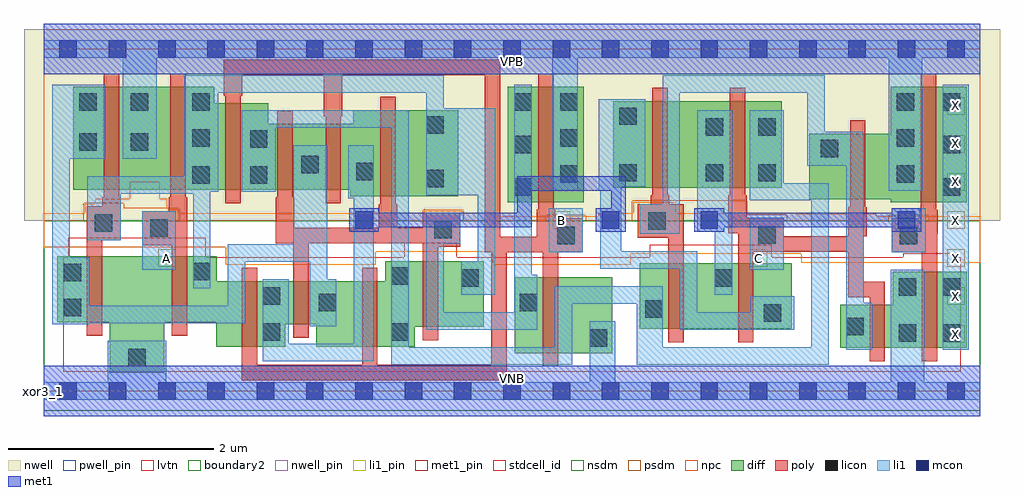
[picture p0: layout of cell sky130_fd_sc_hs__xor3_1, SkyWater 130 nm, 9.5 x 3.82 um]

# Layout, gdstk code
import gdstk
lib = gdstk.Library(unit=1e-6, precision=1e-09)
def R(c, l, rs):  # rectangles x0, y0, x1, y1
    for r in rs: c.add(gdstk.rectangle(r[:2], r[2:], *l))
def A(c, l, x, y, w, h, nx, ny, dx, dy):  # array of equal rectangles
    R(c, l, [(x+i*dx, y+j*dy, x+i*dx+w, y+j*dy+h) for i in range(nx) for j in range(ny)])
def P(c, l, *ps):  # polygons
    for p in ps: c.add(gdstk.Polygon(p, *l))
nwell_pin = (64, 16)
nwell = (64, 20)
diff = (65, 20)
poly = (66, 20)
licon = (66, 44)
li1_pin = (67, 16)
li1 = (67, 20)
mcon = (67, 44)
met1_pin = (68, 16)
met1 = (68, 20)
stdcell_id = (81, 4)
nsdm = (93, 44)
psdm = (94, 20)
npc = (95, 20)
pwell_pin = (122, 16)
lvtn = (125, 44)
boundary2 = (236, 0)

sky130_fd_sc_hs__xor3_1 = lib.new_cell('sky130_fd_sc_hs__xor3_1')
R(sky130_fd_sc_hs__xor3_1, nwell_pin, [(0,3.085,9.12,3.33)])
R(sky130_fd_sc_hs__xor3_1, nwell, [(-0.19,1.66,9.31,3.52)])
R(sky130_fd_sc_hs__xor3_1, diff, [(4.585,0.37,5.535,1.11), (5.805,0.605,7.285,1.245), (4.52,1.84,5.26,2.96), (5.545,1.98,7.185,2.82)])
P(sky130_fd_sc_hs__xor3_1, diff, [(4.035,2.735),(3.015,2.735),(3.015,2.6),(2.185,2.6),(2.185,2.8),(1.66,2.8),(1.66,2.96),(0.29,2.96),(0.29,1.96),(2.985,1.96),(2.985,1.895),(4.035,1.895)],
  [(4.285,1.265),(3.325,1.265),(3.325,1.07),(1.685,1.07),(1.685,1.31),(0.135,1.31),(0.135,0.67),(0.645,0.67),(0.645,0.18),(1.175,0.18),(1.175,0.67),(1.68,0.67),(1.68,0.43),(2.355,0.43),(2.355,0.65),(2.655,0.65),(2.655,0.43),(3.615,0.43),(3.615,0.625),(4.285,0.625)],
  [(8.985,2.96),(8.245,2.96),(8.245,2.505),(7.455,2.505),(7.455,1.865),(8.245,1.865),(8.245,1.84),(8.985,1.84)],
  [(8.985,1.16),(8.265,1.16),(8.265,0.84),(7.755,0.84),(7.755,0.42),(8.985,0.42)])
P(sky130_fd_sc_hs__xor3_1, poly, [(8.705,1.765),(8.69,1.765),(8.69,3.09),(8.54,3.09),(8.54,1.765),(8.525,1.765),(8.525,1.68),(8.255,1.68),(8.255,1.35),(8.55,1.35),(8.55,0.29),(8.7,0.29),(8.7,1.53),(8.705,1.53)],
  [(8.19,1.065),(7.985,1.065),(7.985,1.505),(8.015,1.505),(8.015,1.79),(8,1.79),(8,2.635),(7.85,2.635),(7.85,1.79),(7.835,1.79),(7.835,1.505),(7.205,1.505),(7.205,1.685),(6.845,1.685),(6.845,1.905),(6.83,1.905),(6.83,2.95),(6.68,2.95),(6.68,1.905),(6.665,1.905),(6.665,1.535),(6.76,1.535),(6.76,0.475),(6.91,0.475),(6.91,1.355),(7.835,1.355),(7.835,0.915),(8.04,0.915),(8.04,0.29),(8.19,0.29)],
  [(6.23,1.82),(6.09,1.82),(6.09,1.905),(6.075,1.905),(6.075,2.95),(5.925,2.95),(5.925,1.905),(5.91,1.905),(5.91,1.82),(5.785,1.82),(5.785,1.49),(6.08,1.49),(6.08,0.475),(6.23,0.475)],
  [(5.25,1.68),(4.98,1.68),(4.98,1.765),(4.965,1.765),(4.965,3.09),(4.815,3.09),(4.815,1.765),(4.8,1.765),(4.8,1.5),(4.445,1.5),(4.445,3.225),(1.755,3.225),(1.755,2.875),(1.77,2.875),(1.77,1.83),(1.92,1.83),(1.92,2.875),(1.935,2.875),(1.935,3.075),(2.73,3.075),(2.73,2.675),(2.745,2.675),(2.745,1.83),(2.895,1.83),(2.895,2.675),(2.91,2.675),(2.91,3.075),(4.295,3.075),(4.295,1.35),(4.36,1.35),(4.36,0.255),(3.25,0.255),(3.25,1.2),(3.1,1.2),(3.1,0.255),(2.08,0.255),(2.08,1.2),(1.93,1.2),(1.93,0.105),(4.51,0.105),(4.51,1.35),(4.86,1.35),(4.86,0.24),(5.01,0.24),(5.01,1.35),(5.25,1.35)],
  [(4.055,1.735),(3.69,1.735),(3.69,1.59),(3.445,1.59),(3.445,1.82),(3.43,1.82),(3.43,2.865),(3.28,2.865),(3.28,1.82),(3.265,1.82),(3.265,1.59),(2.44,1.59),(2.44,1.885),(2.425,1.885),(2.425,2.73),(2.275,2.73),(2.275,1.885),(2.26,1.885),(2.26,1.44),(2.43,1.44),(2.43,0.52),(2.58,0.52),(2.58,1.44),(3.69,1.44),(3.69,0.495),(3.84,0.495),(3.84,1.405),(4.055,1.405)],
  [(1.4,1.885),(1.385,1.885),(1.385,3.09),(1.235,3.09),(1.235,1.885),(1.22,1.885),(1.22,1.75),(0.96,1.75),(0.96,1.42),(1.25,1.42),(1.25,0.54),(1.4,0.54)],
  [(0.75,1.885),(0.735,1.885),(0.735,3.09),(0.585,3.09),(0.585,1.885),(0.57,1.885),(0.57,1.8),(0.42,1.8),(0.42,0.54),(0.57,0.54),(0.57,1.47),(0.75,1.47)])
A(sky130_fd_sc_hs__xor3_1, licon, 4.58, 1.9, 0.17, 0.17, 1, 3, 0, 0.415)
A(sky130_fd_sc_hs__xor3_1, licon, 8.755, 1.9, 0.17, 0.17, 1, 3, 0, 0.415)
A(sky130_fd_sc_hs__xor3_1, licon, 5.03, 2.03, 0.17, 0.17, 1, 3, 0, 0.35)
A(sky130_fd_sc_hs__xor3_1, licon, 8.305, 2.03, 0.17, 0.17, 1, 3, 0, 0.35)
R(sky130_fd_sc_hs__xor3_1, licon, [(0.825,0.24,0.995,0.41), (5.315,0.43,5.485,0.6), (8.325,0.48,8.495,0.65), (8.755,0.48,8.925,0.65), (2.135,0.49,2.305,0.66), (3.385,0.49,3.555,0.66), (7.815,0.545,7.985,0.715), (7.01,0.675,7.18,0.845), (5.855,0.715,6.025,0.885), (0.195,0.73,0.365,0.9), (2.68,0.775,2.85,0.945), (4.635,0.775,4.805,0.945), (2.135,0.84,2.305,1.01), (8.325,0.93,8.495,1.1), (8.755,0.93,8.925,1.1), (4.065,1.015,4.235,1.185), (6.535,1.015,6.705,1.185), (3.385,1.035,3.555,1.205), (0.195,1.07,0.365,1.24), (1.455,1.08,1.625,1.25), (5,1.43,5.17,1.6), (8.335,1.43,8.505,1.6), (6.955,1.435,7.125,1.605), (3.805,1.485,3.975,1.655), (1.04,1.5,1.21,1.67), (0.5,1.55,0.67,1.72), (5.885,1.57,6.055,1.74), (3.725,1.985,3.895,2.155), (1.45,2.02,1.62,2.19), (2.01,2.02,2.18,2.19), (5.605,2.04,5.775,2.21), (6.445,2.04,6.615,2.21), (6.955,2.04,7.125,2.21), (3.045,2.05,3.215,2.22), (2.51,2.12,2.68,2.29), (7.565,2.275,7.735,2.445), (0.35,2.34,0.52,2.51), (0.85,2.34,1.02,2.51), (2.01,2.37,2.18,2.54), (1.45,2.38,1.62,2.55), (6.445,2.485,6.615,2.655), (6.955,2.485,7.125,2.655), (3.725,2.505,3.895,2.675), (5.605,2.59,5.775,2.76), (0.35,2.73,0.52,2.9), (0.85,2.73,1.02,2.9), (1.45,2.73,1.62,2.9)])
A(sky130_fd_sc_hs__xor3_1, li1_pin, 8.795, 0.47, 0.17, 0.17, 1, 7, 0, 0.37)
R(sky130_fd_sc_hs__xor3_1, li1_pin, [(1.115,1.21,1.285,1.38), (6.875,1.21,7.045,1.38), (4.955,1.58,5.125,1.75)])
R(sky130_fd_sc_hs__xor3_1, li1, [(8.755,0.4,9.005,2.98), (0.96,1.18,1.285,1.75), (6.875,1.18,7.205,1.685), (4.92,1.35,5.25,1.78), (8.255,1.35,8.585,1.78)])
P(sky130_fd_sc_hs__xor3_1, li1, [(0,-0.085),(0,0.085),(0.625,0.085),(0.625,0.49),(1.195,0.49),(1.195,0.085),(5.315,0.085),(5.315,0.68),(5.565,0.68),(5.565,0.085),(8.245,0.085),(8.245,1.18),(8.575,1.18),(8.575,0.085),(9.12,0.085),(9.12,-0.085)],
  [(0,3.245),(0,3.415),(9.12,3.415),(9.12,3.245),(8.555,3.245),(8.555,1.95),(8.225,1.95),(8.225,3.245),(5.2,3.245),(5.2,1.95),(4.95,1.95),(4.95,3.245),(1.1,3.245),(1.1,2.26),(0.77,2.26),(0.77,3.245)],
  [(0.085,2.98),(0.6,2.98),(0.6,2.26),(0.255,2.26),(0.255,1.3),(0.445,1.3),(0.445,0.83),(1.795,0.83),(1.795,1.43),(2.43,1.43),(2.43,2.395),(2.76,2.395),(2.76,1.09),(2.85,1.09),(2.85,0.63),(2.59,0.63),(2.59,1.26),(1.965,1.26),(1.965,0.66),(0.445,0.66),(0.445,0.65),(0.085,0.65)],
  [(3.895,3.075),(3.895,2.755),(4.395,2.755),(4.395,0.935),(4.065,0.935),(4.065,1.265),(4.225,1.265),(4.225,1.905),(3.725,1.905),(3.725,2.905),(1.7,2.905),(1.7,1.94),(1.625,1.94),(1.625,1),(1.455,1),(1.455,1.92),(0.75,1.92),(0.75,1.47),(0.425,1.47),(0.425,2.09),(1.37,2.09),(1.37,3.075)],
  [(6.195,0.595),(6.195,1.19),(5.42,1.19),(5.42,1.95),(5.405,1.95),(5.405,2.84),(5.855,2.84),(5.855,1.99),(5.625,1.99),(5.625,1.36),(6.365,1.36),(6.365,0.765),(6.885,0.765),(6.885,0.925),(7.305,0.925),(7.305,0.595)],
  [(3.02,0.46),(3.02,1.875),(2.965,1.875),(2.965,2.395),(3.215,2.395),(3.215,0.29),(2.135,0.29),(2.135,1.09),(2.385,1.09),(2.385,0.46)],
  [(6.535,1.55),(6.365,1.55),(6.365,2.735),(6.705,2.735),(6.705,0.935),(6.535,0.935)],
  [(3.555,2.735),(3.555,0.425),(4.975,0.425),(4.975,1.02),(6.025,1.02),(6.025,0.425),(7.475,0.425),(7.475,1.855),(6.875,1.855),(6.875,2.735),(7.205,2.735),(7.205,2.025),(7.645,2.025),(7.645,0.255),(5.775,0.255),(5.775,0.85),(5.145,0.85),(5.145,0.255),(3.385,0.255),(3.385,2.565),(2.26,2.565),(2.26,1.94),(1.93,1.94),(1.93,2.735)],
  [(4.58,2.98),(4.75,2.98),(4.75,1.13),(4.805,1.13),(4.805,0.595),(3.725,0.595),(3.725,1.735),(4.055,1.735),(4.055,1.435),(3.895,1.435),(3.895,0.765),(4.58,0.765)],
  [(6.025,3.075),(7.605,3.075),(7.605,2.525),(7.985,2.525),(7.985,0.86),(8.065,0.86),(8.065,0.4),(7.815,0.4),(7.815,2.195),(7.435,2.195),(7.435,2.905),(6.195,2.905),(6.195,1.53),(5.805,1.53),(5.805,1.82),(6.025,1.82)])
A(sky130_fd_sc_hs__xor3_1, mcon, 0.155, -0.085, 0.17, 0.17, 19, 2, 0.48, 3.33)
R(sky130_fd_sc_hs__xor3_1, mcon, [(3.035,1.58,3.205,1.75), (5.435,1.58,5.605,1.75), (6.395,1.58,6.565,1.75), (8.315,1.58,8.485,1.75)])
R(sky130_fd_sc_hs__xor3_1, met1_pin, [(0,0,9.12,0.245), (0,3.085,9.12,3.33)])
R(sky130_fd_sc_hs__xor3_1, met1, [(0,-0.245,9.12,0.245), (2.975,1.55,3.265,1.78), (5.375,1.55,5.665,1.78), (3.265,1.595,4.75,1.735), (4.61,1.595,4.75,2.09), (5.525,1.78,5.665,2.09), (4.61,1.95,5.665,2.09), (0,3.085,9.12,3.575)])
P(sky130_fd_sc_hs__xor3_1, met1, [(6.625,1.735),(8.255,1.735),(8.255,1.78),(8.545,1.78),(8.545,1.55),(8.255,1.55),(8.255,1.595),(6.625,1.595),(6.625,1.55),(6.335,1.55),(6.335,1.78),(6.625,1.78)])
R(sky130_fd_sc_hs__xor3_1, stdcell_id, [(0,0,9.12,3.33)])
R(sky130_fd_sc_hs__xor3_1, nsdm, [(0,-0.19,9.12,1.66)])
P(sky130_fd_sc_hs__xor3_1, psdm, [(9.12,3.52),(0,3.52),(0,1.66),(0.39,1.66),(0.39,1.83),(0.78,1.83),(0.78,1.78),(1.32,1.78),(1.32,1.66),(3.695,1.66),(3.695,1.765),(4.085,1.765),(4.085,1.66),(4.89,1.66),(4.89,1.71),(5.28,1.71),(5.28,1.66),(5.73,1.66),(5.73,1.85),(6.845,1.85),(6.845,1.715),(7.235,1.715),(7.235,1.66),(8.225,1.66),(8.225,1.71),(8.615,1.71),(8.615,1.66),(9.12,1.66)])
P(sky130_fd_sc_hs__xor3_1, npc, [(9.12,1.7),(8.105,1.7),(8.105,1.725),(7.315,1.725),(7.315,1.73),(6.155,1.73),(6.155,1.84),(5.74,1.84),(5.74,1.73),(5.4,1.73),(5.4,1.7),(4.38,1.7),(4.38,1.73),(4.075,1.73),(4.075,1.755),(3.705,1.755),(3.705,1.73),(1.31,1.73),(1.31,1.77),(1.205,1.77),(1.205,1.87),(1.13,1.87),(1.13,2.035),(0.84,2.035),(0.84,1.87),(0.505,1.87),(0.505,1.82),(0.4,1.82),(0.4,1.73),(0,1.73),(0,1.4),(1.775,1.4),(1.775,1.23),(3.235,1.23),(3.235,1.355),(4.375,1.355),(4.375,1.23),(5.715,1.23),(5.715,1.335),(7.375,1.335),(7.375,1.25),(9.12,1.25)])
R(sky130_fd_sc_hs__xor3_1, pwell_pin, [(0,0,9.12,0.245)])
P(sky130_fd_sc_hs__xor3_1, lvtn, [(8.93,1.3),(8.88,1.3),(8.88,1.34),(8.37,1.34),(8.37,1.3),(7.09,1.3),(7.09,1.425),(5.9,1.425),(5.9,1.3),(4.02,1.3),(4.02,1.445),(3.51,1.445),(3.51,1.3),(1.58,1.3),(1.58,1.49),(0.24,1.49),(0.24,1.3),(0.19,1.3),(0.19,0.19),(8.93,0.19)])
R(sky130_fd_sc_hs__xor3_1, boundary2, [(0,0,9.12,3.33)])
sky130_fd_sc_hs__xor3_1.add(gdstk.Label('xor3_1', (0,0), layer=83, texttype=44))
sky130_fd_sc_hs__xor3_1.add(gdstk.Label('VNB', (4.56,0.123), layer=64, texttype=59))
sky130_fd_sc_hs__xor3_1.add(gdstk.Label('VPB', (4.56,3.208), layer=64, texttype=5))
sky130_fd_sc_hs__xor3_1.add(gdstk.Label('VPWR', (4.56,3.208), layer=68, texttype=5))
sky130_fd_sc_hs__xor3_1.add(gdstk.Label('VGND', (4.56,0.123), layer=68, texttype=5))
sky130_fd_sc_hs__xor3_1.add(gdstk.Label('B', (5.04,1.665), layer=67, texttype=5))
sky130_fd_sc_hs__xor3_1.add(gdstk.Label('C', (6.96,1.295), layer=67, texttype=5))
sky130_fd_sc_hs__xor3_1.add(gdstk.Label('A', (1.2,1.295), layer=67, texttype=5))
sky130_fd_sc_hs__xor3_1.add(gdstk.Label('X', (8.88,0.555), layer=67, texttype=5))
sky130_fd_sc_hs__xor3_1.add(gdstk.Label('X', (8.88,0.925), layer=67, texttype=5))
sky130_fd_sc_hs__xor3_1.add(gdstk.Label('X', (8.88,1.295), layer=67, texttype=5))
sky130_fd_sc_hs__xor3_1.add(gdstk.Label('X', (8.88,1.665), layer=67, texttype=5))
sky130_fd_sc_hs__xor3_1.add(gdstk.Label('X', (8.88,2.035), layer=67, texttype=5))
sky130_fd_sc_hs__xor3_1.add(gdstk.Label('X', (8.88,2.405), layer=67, texttype=5))
sky130_fd_sc_hs__xor3_1.add(gdstk.Label('X', (8.88,2.775), layer=67, texttype=5))

lib.write_gds('sky130_fd_sc_hs__xor3_1.gds')
